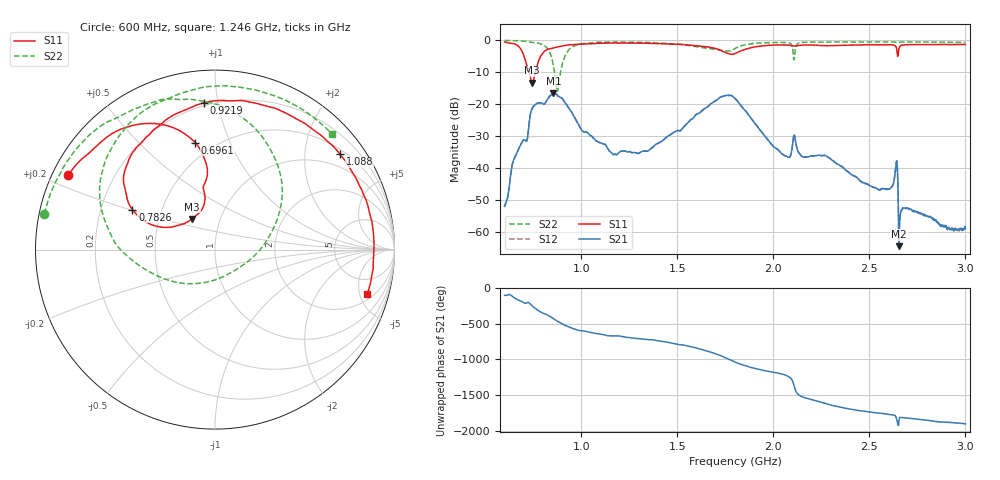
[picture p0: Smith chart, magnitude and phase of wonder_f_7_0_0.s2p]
#  HZ  S  RI  R  50.00
! Rohde & Schwarz ZVB8 2Ports - Version 2.81 - 1145.1010k08 SN: 100113
! Date: 2016-05-12 03:16:21
! Measurements: S11 S21 S12 S22
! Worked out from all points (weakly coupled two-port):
!   1000 points, 600 MHz to 3 GHz, reference 50 ohm
!   highest |S21| = -16.76 dB at 854.7 MHz (marker M1); lowest = -64.4 dB at 2.654 GHz (marker M2)
!   lowest |S11| = -13.4 dB at 744.1 MHz (marker M3), VSWR 1.54, Z = 36.6 + j13.1 ohm
!   |S11| at or under -10 dB: 729.3 MHz to 761.3 MHz (32.06 MHz wide, 4.3 % of centre)
!   |S22| runs from -16.1 to -0.2 dB; largest |S21 - S12| = 0.0013
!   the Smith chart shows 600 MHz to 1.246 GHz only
!   S11 on the Smith chart (normalised r, x): 600 MHz: 0.05, +0.24; 696.1 MHz: 0.40, +0.75; 782.6 MHz: 0.34, +0.20; 921.9 MHz: 0.18, +0.91; 1.088 GHz: 0.62, +2.84; 1.246 GHz: 2.58, -5.89
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6e8  -0.8188 0.4147  -0.000518 -0.00249  -0.000543 -0.00242  -0.9515 0.1991
6.960961e8  -0.1102 0.5965  -0.0253 0.00901  -0.0253 0.00902  -0.7233 0.6149
7.441441e8  -0.1283 0.171  -0.0288 0.0803  -0.0287 0.0805  -0.4922 0.762
7.825826e8  -0.4604 0.223  0.0864 0.0564  0.0865 0.056  -0.2252 0.8384
8.21021e8  -0.4739 0.5146  0.1114 -0.0268  0.1114 -0.0269  0.171 0.7216
8.546547e8  -0.3565 0.6523  0.0523 -0.1355  0.0517 -0.1358  0.3462 0.1672
8.762763e8  -0.2784 0.7186  -0.0377 -0.1281  -0.038 -0.1276  0.0442 -0.1518
9.219219e8  -0.0621 0.8183  -0.0969 -0.0157  -0.0969 -0.0156  -0.5992 0.1259
1.001201e9  0.3375 0.7864  -0.0207 0.0328  -0.0207 0.0327  -0.4226 0.7544
1.087688e9  0.6963 0.5317  0.0045 0.0251  0.00443 0.0252  0.0126 0.9115
1.246246e9  0.8492 -0.2479  0.016 0.00815  0.016 0.0082  0.6512 0.6448
1.4e9  0.3488 -0.7947  0.0232 -0.0075  0.0231 -0.00738  0.8899 0.0683
1.623423e9  -0.5415 -0.5764  -0.0565 -0.0507  -0.0564 -0.0508  0.5062 -0.5639
1.801201e9  -0.5896 -0.154  0.0875 0.0819  0.0875 0.0825  0.2975 -0.6682
1.976577e9  -0.7218 0.3828  0.000759 -0.0263  0.000744 -0.0263  -0.2212 -0.869
2.2e9  -0.0122 0.8259  -0.0085 -0.0129  -0.00851 -0.0129  -0.6951 -0.5969
2.435435e9  0.7456 0.3539  0.000209 0.00713  0.000227 0.00717  -0.9213 -0.0742
2.601201e9  0.7499 -0.3686  0.00407 0.00232  0.00407 0.00227  -0.871 0.2993
2.637237e9  0.5759 -0.5351  0.0104 0.000222  0.0104 0.000166  -0.8321 0.3698
2.654054e9  0.6379 -0.3367  0.000364 -0.000483  0.000416 -0.00046  -0.8297 0.394
2.800601e9  0.1583 -0.8231  0.00111 -0.00138  0.00113 -0.00137  -0.6286 0.6689
3e9  -0.5381 -0.6462  -0.00022 -0.00113  -0.000264 -0.00109  -0.2046 0.8828
